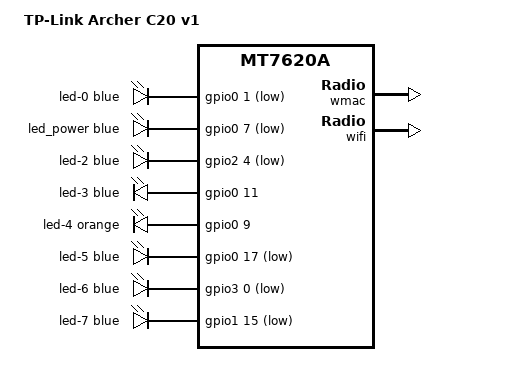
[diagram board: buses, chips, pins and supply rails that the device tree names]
#include <dt-bindings/leds/common.h>

#include "mt7620a_tplink_8m.dtsi"

/ {
	compatible = "tplink,archer-c20-v1", "ralink,mt7620a-soc";
	model = "TP-Link Archer C20 v1";

	aliases {
		led-boot = &led_power;
		led-failsafe = &led_power;
		led-running = &led_power;
		led-upgrade = &led_power;
	};

	leds {
		compatible = "gpio-leds";

		led-0 {
			function = LED_FUNCTION_LAN;
			color = <LED_COLOR_ID_BLUE>;
			gpios = <&gpio0 1 GPIO_ACTIVE_LOW>;
		};

		led_power: led-1 {
			function = LED_FUNCTION_POWER;
			color = <LED_COLOR_ID_BLUE>;
			gpios = <&gpio0 7 GPIO_ACTIVE_LOW>;
			default-state = "keep";
		};

		led-2 {
			function = LED_FUNCTION_USB;
			color = <LED_COLOR_ID_BLUE>;
			gpios = <&gpio2 4 GPIO_ACTIVE_LOW>;
			trigger-sources = <&ohci_port1>, <&ehci_port1>;
			linux,default-trigger = "usbport";
		};

		led-3 {
			function = LED_FUNCTION_WAN;
			color = <LED_COLOR_ID_BLUE>;
			gpios = <&gpio0 11 GPIO_ACTIVE_HIGH>;
		};

		led-4 {
			function = LED_FUNCTION_WAN;
			color = <LED_COLOR_ID_ORANGE>;
			gpios = <&gpio0 9 GPIO_ACTIVE_HIGH>;
		};

		led-5 {
			function = LED_FUNCTION_WLAN_5GHZ;
			color = <LED_COLOR_ID_BLUE>;
			gpios = <&gpio0 17 GPIO_ACTIVE_LOW>;
			linux,default-trigger = "phy0tpt";
		};

		led-6 {
			function = LED_FUNCTION_WLAN_2GHZ;
			color = <LED_COLOR_ID_BLUE>;
			gpios = <&gpio3 0 GPIO_ACTIVE_LOW>;
			linux,default-trigger = "phy1tpt";
		};

		led-7 {
			function = LED_FUNCTION_WPS;
			color = <LED_COLOR_ID_BLUE>;
			gpios = <&gpio1 15 GPIO_ACTIVE_LOW>;
		};
	};
};

&state_default {
	gpio {
		groups = "i2c", "uartf", "wled", "ephy", "spi refclk", "wdt";
		function = "gpio";
	};
};

&wmac {
	pinctrl-names = "default", "pa_gpio";
	pinctrl-0 = <&pa_pins>;
	pinctrl-1 = <&pa_gpio_pins>;

	nvmem-cells = <&eeprom_radio_0>, <&macaddr_rom_f100 (-2)>;
	nvmem-cell-names = "eeprom", "mac-address";
};

&wifi {
	nvmem-cells = <&eeprom_radio_8000>, <&macaddr_rom_f100 (-1)>;
	nvmem-cell-names = "eeprom", "mac-address";
};
